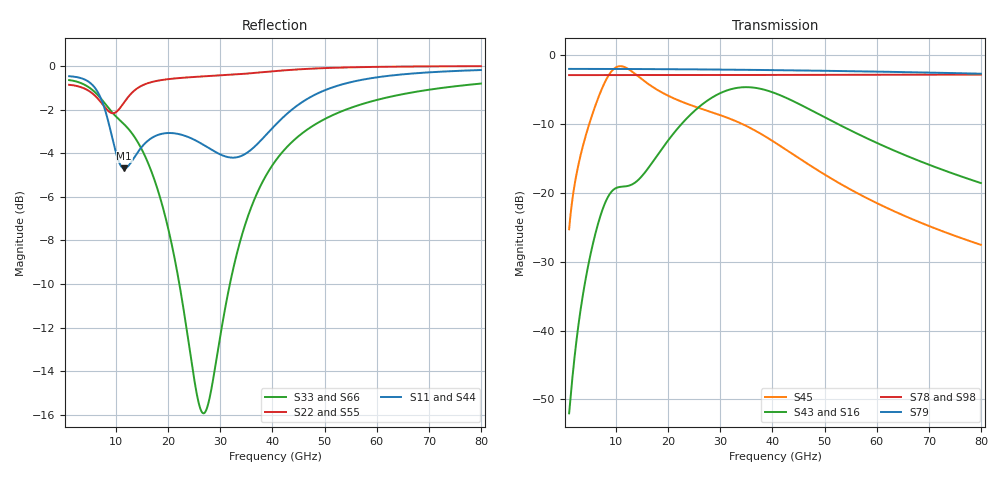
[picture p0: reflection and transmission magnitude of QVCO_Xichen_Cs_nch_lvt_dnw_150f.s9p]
! Touchstone Ver. 1.0
! Number of ports is 9
# Hz	S	RI	R	50.000000
! SCATTERING PARAMETERS  :
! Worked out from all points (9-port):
!   1001 points, 1 GHz to 80 GHz, reference 50 ohm
!   strongest paths, dB at 1 GHz, 20.75 GHz, 40.5 GHz, 60.25 GHz, 80 GHz:
!     S79: -2.0, -2.1, -2.2, -2.4, -2.7
!     S78: -2.9, -2.9, -2.9, -2.9, -2.9
!     S98: -2.9, -3.0, -3.0, -3.1, -3.2
!     S43: -52.0, -11.7, -5.6, -12.8, -18.6
!     S16: -52.0, -11.7, -5.6, -12.8, -18.6
!     S45: -25.3, -6.2, -12.7, -21.6, -27.6
!   lowest |S11| = -4.7 dB at 11.59 GHz (marker M1), VSWR 3.79, Z = 14 + j11.7 ohm
!   |S11| at or under -10 dB: nowhere
